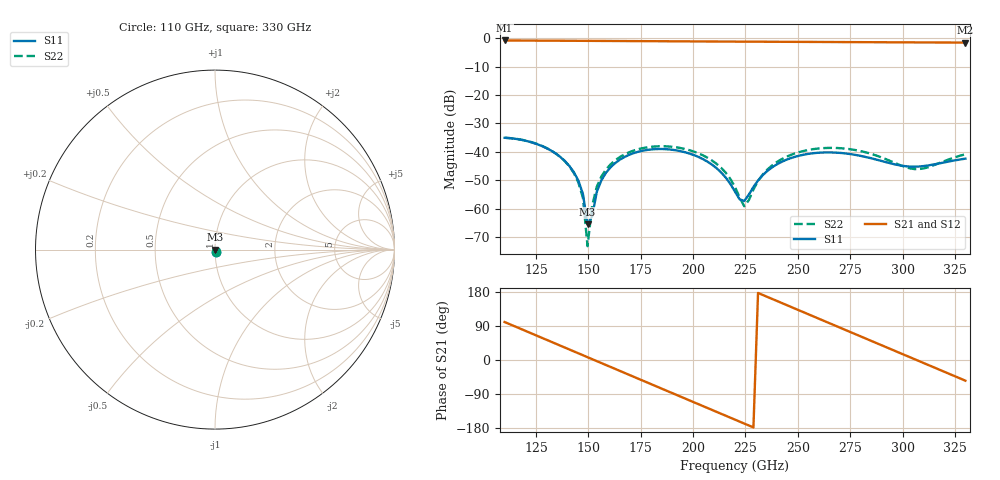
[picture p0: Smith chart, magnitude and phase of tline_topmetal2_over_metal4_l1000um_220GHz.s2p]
#  GHZ S DB R 50
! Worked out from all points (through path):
!   101 points, 110 GHz to 330 GHz, reference 50 ohm
!   highest |S21| = -0.83 dB at 110 GHz (marker M1); lowest = -1.6 dB at 330 GHz (marker M2)
!   group delay of S21, straight-line fit = 6.5 ps
!   lowest |S11| = -65.5 dB at 149.6 GHz (marker M3), VSWR 1.00, Z = 50 - j0.0171 ohm
!   |S11| at or under -10 dB: start of sweep to end of sweep
!   |S22| runs from -73.2 to -35.0 dB; largest |S21 - S12| = 1e-13
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110  -35.07 -62.7  -0.83 100.2  -0.83 100.2  -35.04 -62.9
123.2  -36.73 -93.6  -0.88 69.3  -0.88 69.3  -36.67 -93.8
136.4  -41.68 -125.1  -0.92 38.4  -0.92 38.4  -41.70 -125.0
143  -47.08 -141.4  -0.94 22.9  -0.94 22.9  -47.39 -140.6
147.4  -54.81 -153.0  -0.96 12.6  -0.96 12.6  -56.16 -149.5
149.6  -65.55 -161.1  -0.97 7.4  -0.97 7.4  -73.18 -135.6
151.8  -62.62 19.7  -0.98 2.3  -0.98 2.3  -58.93 12.1
154  -54.11 12.5  -0.98 -2.9  -0.98 -2.9  -52.30 8.9
158.4  -47.35 0.8  -1.00 -13.2  -1.00 -13.2  -46.22 -1.3
169.4  -41.06 -27.8  -1.04 -39.0  -1.04 -39.0  -40.17 -28.9
184.8  -39.00 -68.6  -1.10 -75.1  -1.10 -75.1  -38.03 -69.0
195.8  -40.08 -98.6  -1.15 -100.8  -1.15 -100.8  -38.95 -98.3
206.8  -43.43 -131.0  -1.19 -126.5  -1.19 -126.5  -42.05 -129.0
220  -53.99 164.2  -1.23 -157.4  -1.23 -157.4  -52.37 178.2
224.4  -57.29 92.7  -1.25 -167.7  -1.25 -167.7  -59.13 110.2
231  -50.08 22.6  -1.27 176.9  -1.27 176.9  -50.27 18.1
237.6  -45.51 -6.0  -1.29 161.5  -1.29 161.5  -44.84 -9.3
257.4  -40.48 -70.3  -1.35 115.1  -1.35 115.1  -39.04 -69.9
275  -40.78 -130.2  -1.41 74.0  -1.41 74.0  -39.08 -125.1
294.8  -44.15 141.9  -1.47 27.7  -1.47 27.7  -43.42 155.2
312.4  -44.76 37.8  -1.53 -13.4  -1.53 -13.4  -45.37 36.8
330  -42.39 -48.9  -1.58 -54.6  -1.58 -54.6  -40.85 -51.4
